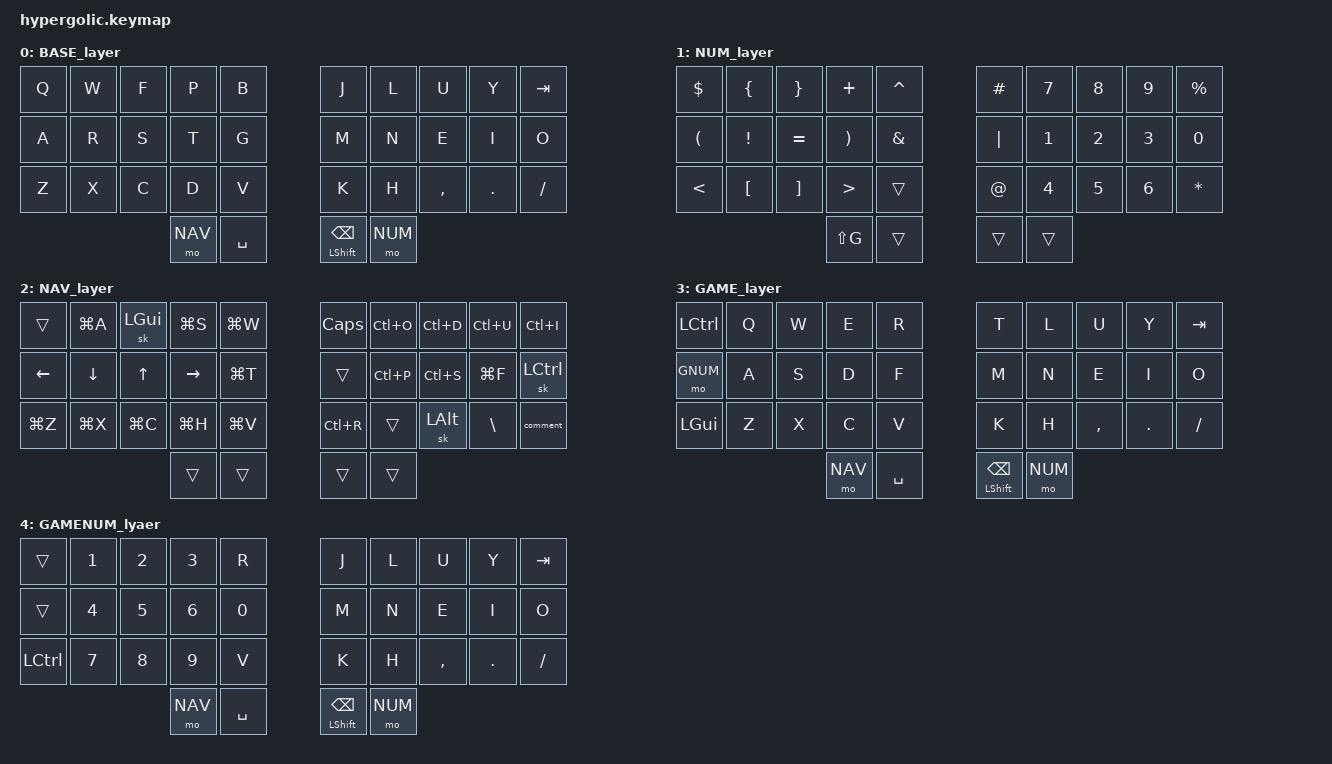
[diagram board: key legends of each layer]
// Copyright 2022 @filterpaper
// SPDX-License-Identifier: MIT

#include <behaviors.dtsi>
#include <dt-bindings/zmk/bt.h>
#include <dt-bindings/zmk/keys.h>
#include <dt-bindings/zmk/outputs.h>

#define BASE 0
#define NUM 1
#define NAV 2
#define GAME 3
#define GNUM 4

#define ________ &trans

#define TAPPING_TERM 148
#define QUICK_TAP    150


&lt {
	flavor = "hold-preferred";
	tapping-term-ms = <TAPPING_TERM>;
	quick-tap-ms = <QUICK_TAP>;
};

&mt {
	flavor = "balanced";
	tapping-term-ms = <TAPPING_TERM>;
	quick-tap-ms = <QUICK_TAP>;
};

&caps_word {
	continue-list = <UNDER MINUS BSPC RSHFT LSHFT>;
};

/ {
	behaviors {
		gresc: grave_escape {
			label = "grave_escape";
			compatible = "zmk,behavior-mod-morph";
			#binding-cells = <0>;
			mods = <(MOD_LGUI|MOD_RGUI)>;
			bindings = <&kp ESC>, <&kp GRAVE>;
		};
		ht: hold_tap {
			label = "hold_tap";
			compatible = "zmk,behavior-hold-tap";
			#binding-cells = <2>;
			flavor = "tap-preferred";
			tapping-term-ms = <TAPPING_TERM>;
			quick-tap-ms = <QUICK_TAP>;
			global-quick-tap;
			bindings = <&kp>, <&kp>;
		};
		lht: left_positional_hold_tap {
			label = "left_positional_hold_tap";
			compatible = "zmk,behavior-hold-tap";
			#binding-cells = <2>;
			flavor = "tap-preferred";
			tapping-term-ms = <TAPPING_TERM>;
			quick-tap-ms = <QUICK_TAP>;
			bindings = <&kp>, <&kp>;
			hold-trigger-key-positions = <
							5  6  7  8  9
			10 11 12 13    15 16 17 18 19
						   25 26 27 28 29
				  30 31 32 33>;
		};
		rht: right_positional_hold_tap {
			label = "right_positional_hold_tap";
			compatible = "zmk,behavior-hold-tap";
			#binding-cells = <2>;
			flavor = "tap-preferred";
			tapping-term-ms = <TAPPING_TERM>;
			quick-tap-ms = <QUICK_TAP>;
			bindings = <&kp>, <&kp>;
			hold-trigger-key-positions = <
			 0  1  2  3  4
			10 11 12 13 14    16 17 18 19
			20 21 22 23 24
						30 31 32 33>;
		};
	};
};


#define COMBO(name, keypress, keypos) \
combo_##name {                        \
	timeout-ms = <40>;                \
	bindings = <keypress>;            \
	key-positions = <keypos>;         \
};
/* Combo key positions
 0  1  2  3  4         5  6  7  8  9
10 11 12 13 14        15 16 17 18 19
20 21 22 23 24        25 26 27 28 29
			30 31  32 33             */

/ {
	combos {
		compatible = "zmk,combos";
		//gaming
		COMBO(tog_gaming, &tog GAME, 0 9)
		//bluetooth
		COMBO(blu0, &bt BT_SEL 0, 4 5)
		COMBO(blu1, &bt BT_SEL 1, 14 15)
		COMBO(blu_clear, &bt BT_CLR, 24 25)
		// horizontal
		// // main 
		COMBO(esc, &kp ESC, 10 11)
		COMBO(terminal_esc, &kp LC(C), 11 12)
		COMBO(enter, &kp ENTER, 12 13)
    COMBO(albert, &kp LG(SPACE), 16 17)
    COMBO(tmux, &kp LC(B), 17 18)
    COMBO(control, &sk LCTRL, 18 19)
    // // top
    COMBO(vim_savequit,  &vim_s,  0 1)
    COMBO(vim_saveall,  &vim_wa,  1 2)
		COMBO(nvim, &nvim, 6 7)
		COMBO(lazy_git, &lazy_git,  7 8)
    // // bottom
    COMBO(vim_quit,  &vim_q,  20 21)
    COMBO(cd_downward, &dir_up, 22 23)
    COMBO(tilde, &kp TILDE, 26 27)
    COMBO(grave, &kp GRAVE, 27 28)
    COMBO(gb_toggle, &gb_toggle, 28 29)
    // // bottom
    // vertical left
    COMBO(vol_up, &kp C_VOL_UP,  0 10)
		COMBO(vol_dn, &kp C_VOL_DN, 10 20)
		COMBO(singlequote, &kp SQT, 1 11)
		COMBO(doublequote, &kp DQT, 11 21)
		COMBO(colon, &kp COLON, 2 12)
		COMBO(semicolon, &kp SEMI, 12 22)
		COMBO(minus, &kp MINUS, 3 13)
		COMBO(underscore, &kp UNDER, 13 23)
		// vertical right
		COMBO(brightness_up, &kp C_BRIGHTNESS_INC, 9 19)
		COMBO(brighness_down, &kp C_BRIGHTNESS_DEC, 19 29)
		COMBO(next, &kp C_NEXT, 8 18)
		COMBO(play, &kp C_PLAY, 7 17)
		COMBO(prev, &kp C_PREV, 6 16)
		// UNUSED COMBO(, , 18 28)	
		//TODO capsword
	};
};


#define MACRO(name, keys)             \
name: name##_macro {                  \
	label = #name;                    \
	compatible = "zmk,behavior-macro";\
	#binding-cells = <0>;             \
	tap-ms = <1>;                     \
	wait-ms = <1>;                    \
	bindings = <keys>;                \
};

/ {
	macros {
    MACRO(comment, &kp G &kp C)
		MACRO(vim_q,  &kp COLON &kp Q &kp EXCL &kp ENTER)
		MACRO(vim_s,  &kp COLON &kp W &kp Q &kp ENTER)
		MACRO(vim_w,  &kp ESC &kp COLON &kp W &kp ENTER)
    MACRO(vim_wa, &kp ESC &kp COLON &kp W &kp A &kp ENTER)
		MACRO(dir_up, &kp DOT &kp DOT &kp FSLH)
    MACRO(gb_toggle, &kp SPACE &kp LC(G))
    MACRO(lazy_git, &kp L &kp G &kp ENTER)
    MACRO(nvim, &kp N &kp V &kp ENTER)
 };
};

/ {
	keymap {
		compatible = "zmk,keymap";
		BASE_layer {
			bindings = <
		//╭──────────┬──────────┬──────────┬──────────┬──────────╮   ╭──────────┬──────────┬──────────┬──────────┬──────────╮
			  &kp Q      &kp W      &kp F      &kp P      &kp B          &kp J       &kp L      &kp U      &kp Y      &kp TAB
		//├──────────┼──────────┼──────────┼──────────┼──────────┤   ├──────────┼──────────┼──────────┼──────────┼──────────┤
		   	&kp A      &kp R      &kp S      &kp T      &kp G          &kp M       &kp N        &kp E      &kp I     &kp O
		//├──────────┼──────────┼──────────┼──────────┼──────────┤   ├──────────┼──────────┼──────────┼──────────┼──────────┤
			  &kp Z      &kp X      &kp C      &kp D      &kp V          &kp K       &kp H     &kp COMMA   &kp DOT    &kp FSLH
		//╰──────────┴──────────┴──────────┼──────────┼──────────┤   ├──────────┼──────────┼──────────┴──────────┴──────────╯
			                                    &mo NAV 	&kp SPACE   &mt LSHFT BSPC  &mo NUM
		//                                 ╰──────────┴──────────╯   ╰──────────┴──────────╯
			>;
		};
		NUM_layer {
			bindings = <
		//╭──────────┬──────────┬──────────┬──────────┬──────────╮   ╭──────────┬──────────┬──────────┬──────────┬──────────╮
		   &kp DOLLAR   &kp LBRC  &kp RBRC    &kp PLUS  &kp CARET	   &kp POUND    &kp N7     &kp N8     &kp N9    &kp PERCENT
		//├──────────┼──────────┼──────────┼──────────┼──────────┤   ├──────────┼──────────┼──────────┼──────────┼──────────┤
			&kp LPAR   &kp EXCL   &kp EQUAL   &kp RPAR   &kp AMPS       &kp PIPE    &kp N1     &kp N2     &kp N3     &kp N0
		//├──────────┼──────────┼──────────┼──────────┼──────────┤   ├──────────┼──────────┼──────────┼──────────┼──────────┤
		     &kp LT    &kp LBKT   &kp RBKT    &kp GT   ________       &kp AT      &kp N4     &kp N5     &kp N6    &kp STAR
		//╰──────────┴──────────┴──────────┼──────────┼──────────┤   ├──────────┼──────────┼──────────┴──────────┴──────────╯
			                                  &kp LS(G)  ________       ________   ________
		//                                 ╰──────────┴──────────╯   ╰──────────┴──────────╯
			>;
		};
		NAV_layer {
			bindings = <
		//╭──────────┬──────────┬──────────┬──────────┬──────────╮   ╭──────────┬──────────┬──────────┬──────────┬──────────╮
	      ________  &kp LG(A)   &sk LGUI   &kp LG(S)  &kp LG(W)      &kp CAPS   &kp LC(O)  &kp LC(D)  &kp LC(U)   &kp LC(I)
		//├──────────┼──────────┼──────────┼──────────┼──────────┤   ├──────────┼──────────┼──────────┼──────────┼──────────┤
			&kp LEFT   &kp DOWN    &kp UP    &kp RIGHT  &kp LG(T)        ________   &kp LC(P) &kp LC(S)    &kp LG(F)  &sk LCTRL
		//├──────────┼──────────┼──────────┼──────────┼──────────┤   ├──────────┼──────────┼──────────┼──────────┼──────────┤
		   &kp LG(Z)   &kp LG(X)  &kp LG(C)  &kp LG(H)   &kp LG(V)     &kp LC(R)  ________   &sk LALT   &kp BSLH   &comment
		//╰──────────┴──────────┴──────────┼──────────┼──────────┤   ├──────────┼──────────┼──────────┴──────────┴──────────╯
				                                 ________   ________       ________   ________
		//                                 ╰──────────┴──────────╯   ╰──────────┴──────────╯
			>;
		};
		GAME_layer {
			bindings = <
		//╭──────────┬──────────┬──────────┬──────────┬──────────╮   ╭──────────┬──────────┬──────────┬──────────┬──────────╮
			&kp LCTRL     &kp Q     &kp W      &kp E      &kp R          &kp T       &kp L      &kp U      &kp Y      &kp TAB
		//├──────────┼──────────┼──────────┼──────────┼──────────┤   ├──────────┼──────────┼──────────┼──────────┼──────────┤
		    &mo GNUM    &kp A      &kp S      &kp D      &kp F         &kp M       &kp N        &kp E      &kp I     &kp O
		//├──────────┼──────────┼──────────┼──────────┼──────────┤   ├──────────┼──────────┼──────────┼──────────┼──────────┤
		   &kp LGUI   &kp Z      &kp X      &kp C      &kp V          &kp K       &kp H     &kp COMMA   &kp DOT    &kp FSLH
		//╰──────────┴──────────┴──────────┼──────────┼──────────┤   ├──────────┼──────────┼──────────┴──────────┴──────────╯
			                                    &mo NAV 	&kp SPACE  &mt LSHFT BSPC  &mo NUM
		//                                 ╰──────────┴──────────╯   ╰──────────┴──────────╯
			>;
		};
		GAMENUM_lyaer {
			bindings = <
		//╭──────────┬──────────┬──────────┬──────────┬──────────╮   ╭──────────┬──────────┬──────────┬──────────┬──────────╮
			________   &kp N1     &kp N2      &kp N3      &kp R          &kp J       &kp L      &kp U      &kp Y      &kp TAB
		//├──────────┼──────────┼──────────┼──────────┼──────────┤   ├──────────┼──────────┼──────────┼──────────┼──────────┤
		    ________    &kp N4      &kp N5      &kp N6      &kp N0         &kp M       &kp N    &kp E      &kp I     &kp O
		//├──────────┼──────────┼──────────┼──────────┼──────────┤   ├──────────┼──────────┼──────────┼──────────┼──────────┤
		   &kp LCTRL   &kp N7      &kp N8      &kp N9      &kp V          &kp K       &kp H    &kp COMMA   &kp DOT    &kp FSLH
		//╰──────────┴──────────┴──────────┼──────────┼──────────┤   ├──────────┼──────────┼──────────┴──────────┴──────────╯
			                                &mo NAV 	&kp SPACE  &mt LSHFT BSPC  &mo NUM
		//                                 ╰──────────┴──────────╯   ╰──────────┴──────────╯
			>;
		};
	};
};
